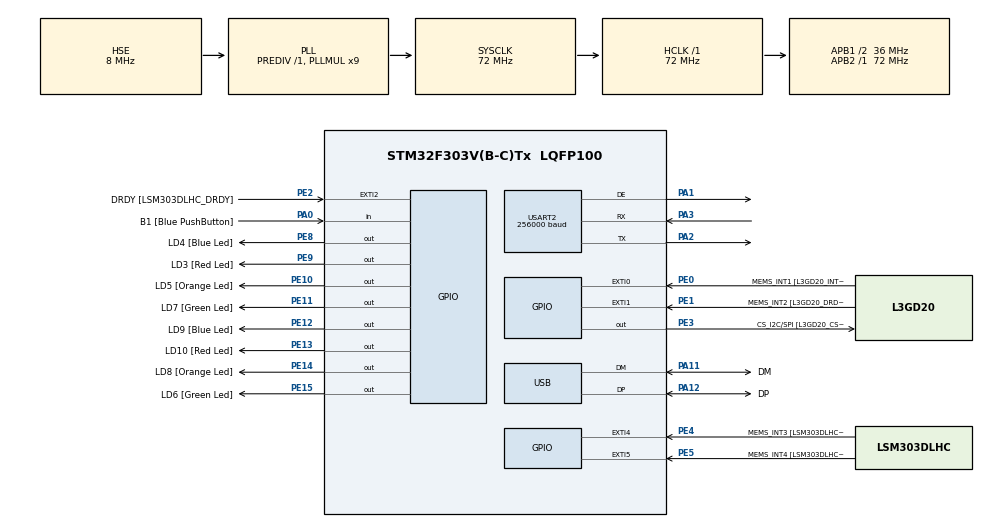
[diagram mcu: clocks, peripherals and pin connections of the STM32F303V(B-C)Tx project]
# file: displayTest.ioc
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Dma.Request0=USART2_TX
Dma.USART2_TX.0.Direction=DMA_MEMORY_TO_PERIPH
Dma.USART2_TX.0.Instance=DMA1_Channel7
Dma.USART2_TX.0.MemDataAlignment=DMA_MDATAALIGN_BYTE
Dma.USART2_TX.0.MemInc=DMA_MINC_ENABLE
Dma.USART2_TX.0.Mode=DMA_NORMAL
Dma.USART2_TX.0.PeriphDataAlignment=DMA_PDATAALIGN_BYTE
Dma.USART2_TX.0.PeriphInc=DMA_PINC_DISABLE
Dma.USART2_TX.0.Priority=DMA_PRIORITY_HIGH
Mcu.Family=STM32F3
Mcu.Name=STM32F303V(B-C)Tx
Mcu.Package=LQFP100
NVIC.DMA1_Channel7_IRQn=true\:0\:0\:false\:false\:true
NVIC.PriorityGroup=NVIC_PRIORITYGROUP_0
NVIC.TIM6_DAC_IRQn=true\:0\:0\:false\:false\:true
NVIC.USART2_IRQn=true\:0\:0\:false\:false\:true
NVIC.USB_LP_CAN_RX0_IRQn=true\:0\:0\:false\:false\:true
PA0.GPIO_Label=B1 [Blue PushButton]
PA0.GPIO_Mode=GPIO_MODE_INPUT
PA0.GPIO_PuPd=GPIO_NOPULL
PA0.Signal=GPIO_Input
PA1.Mode=Hardware Flow Control (RS485)
PA1.Signal=USART2_DE
PA11.GPIO_Label=DM
PA11.Mode=Device
PA11.Signal=USB_DM
PA12.GPIO_Label=DP
PA12.Mode=Device
PA12.Signal=USB_DP
PA13.GPIO_Label=SWDIO
PA13.Mode=Serial_Wire
PA13.Signal=SYS_JTMS-SWDIO
PA14.GPIO_Label=SWCLK
PA14.Mode=Serial_Wire
PA14.Signal=SYS_JTCK-SWCLK
PA2.Mode=Asynchronous
PA2.Signal=USART2_TX
PA3.Mode=Asynchronous
PA3.Signal=USART2_RX
PA5.GPIO_Label=SPI1_SCK [L3GD20_SCL/SPC]
PA5.GPIO_Mode=GPIO_MODE_AF_PP
PA5.GPIO_PuPd=GPIO_NOPULL
PA5.GPIO_Speed=GPIO_SPEED_FREQ_LOW
PA5.Signal=SPI1_SCK
PA6.GPIO_Label=SPI1_MISO [L3GD20_SA0/SDO]
PA6.GPIO_Mode=GPIO_MODE_AF_PP
PA6.GPIO_PuPd=GPIO_NOPULL
PA6.GPIO_Speed=GPIO_SPEED_FREQ_LOW
PA6.Signal=SPI1_MISO
PA7.GPIO_Label=SPI1_MISO [L3GD20_SDA/SDI/SDO]
PA7.GPIO_Mode=GPIO_MODE_AF_PP
PA7.GPIO_PuPd=GPIO_NOPULL
PA7.GPIO_Speed=GPIO_SPEED_FREQ_LOW
PA7.Signal=SPI1_MOSI
PB3.GPIO_Label=SWO
PB3.Signal=SYS_JTDO-TRACESWO
PB6.GPIO_FM6=__NULL
PB6.GPIO_Label=I2C1_SCL [LSM303DLHC_SCL]
PB6.GPIO_Mode=GPIO_MODE_AF_OD
PB6.GPIO_PuPd=GPIO_NOPULL
PB6.GPIO_Speed=GPIO_SPEED_FREQ_LOW
PB6.Signal=I2C1_SCL
PB7.GPIO_FM7=__NULL
PB7.GPIO_Label=I2C1_SDA [LSM303DLHC_SDA]
PB7.GPIO_Mode=GPIO_MODE_AF_OD
PB7.GPIO_PuPd=GPIO_NOPULL
PB7.GPIO_Speed=GPIO_SPEED_FREQ_LOW
PB7.Signal=I2C1_SDA
PC14-OSC32_IN.GPIO_Label=OSC32_IN
PC14-OSC32_IN.Signal=RCC_OSC32_IN
PC15-OSC32_OUT.GPIO_Label=OSC32_OUT
PC15-OSC32_OUT.Signal=RCC_OSC32_OUT
PE0.GPIO_Label=MEMS_INT1 [L3GD20_INT1]
PE0.GPIO_ModeDefaultEXTI=GPIO_MODE_EVT_RISING
PE0.GPIO_PuPd=GPIO_NOPULL
PE0.Signal=GPXTI0
PE1.GPIO_Label=MEMS_INT2 [L3GD20_DRDY/INT2]
PE1.GPIO_ModeDefaultEXTI=GPIO_MODE_EVT_RISING
PE1.GPIO_PuPd=GPIO_NOPULL
PE1.Signal=GPXTI1
PE10.GPIO_Label=LD5 [Orange Led]
PE10.GPIO_ModeDefaultOutputPP=GPIO_MODE_OUTPUT_PP
PE10.GPIO_PuPd=GPIO_NOPULL
PE10.GPIO_Speed=GPIO_SPEED_FREQ_LOW
PE10.Signal=GPIO_Output
PE11.GPIO_Label=LD7 [Green Led]
PE11.GPIO_ModeDefaultOutputPP=GPIO_MODE_OUTPUT_PP
PE11.GPIO_PuPd=GPIO_NOPULL
PE11.GPIO_Speed=GPIO_SPEED_FREQ_LOW
PE11.Signal=GPIO_Output
PE12.GPIO_Label=LD9 [Blue Led]
PE12.GPIO_ModeDefaultOutputPP=GPIO_MODE_OUTPUT_PP
PE12.GPIO_PuPd=GPIO_NOPULL
PE12.GPIO_Speed=GPIO_SPEED_FREQ_LOW
PE12.Signal=GPIO_Output
PE13.GPIO_Label=LD10 [Red Led]
PE13.GPIO_ModeDefaultOutputPP=GPIO_MODE_OUTPUT_PP
PE13.GPIO_PuPd=GPIO_NOPULL
PE13.GPIO_Speed=GPIO_SPEED_FREQ_LOW
PE13.Signal=GPIO_Output
PE14.GPIO_Label=LD8 [Orange Led]
PE14.GPIO_ModeDefaultOutputPP=GPIO_MODE_OUTPUT_PP
PE14.GPIO_PuPd=GPIO_NOPULL
PE14.GPIO_Speed=GPIO_SPEED_FREQ_LOW
PE14.Signal=GPIO_Output
PE15.GPIO_Label=LD6 [Green Led]
PE15.GPIO_ModeDefaultOutputPP=GPIO_MODE_OUTPUT_PP
PE15.GPIO_PuPd=GPIO_NOPULL
PE15.GPIO_Speed=GPIO_SPEED_FREQ_LOW
PE15.Signal=GPIO_Output
PE2.GPIO_Label=DRDY [LSM303DLHC_DRDY]
PE2.GPIO_ModeDefaultEXTI=GPIO_MODE_EVT_RISING
PE2.GPIO_PuPd=GPIO_NOPULL
PE2.Signal=GPXTI2
PE3.GPIO_Label=CS_I2C/SPI [L3GD20_CS_I2C/SPI]
PE3.GPIO_ModeDefaultOutputPP=GPIO_MODE_OUTPUT_PP
PE3.GPIO_PuPd=GPIO_NOPULL
PE3.GPIO_Speed=GPIO_SPEED_FREQ_LOW
PE3.Signal=GPIO_Output
PE4.GPIO_Label=MEMS_INT3 [LSM303DLHC_INT1]
PE4.GPIO_ModeDefaultEXTI=GPIO_MODE_EVT_RISING
PE4.GPIO_PuPd=GPIO_NOPULL
PE4.Signal=GPXTI4
PE5.GPIO_Label=MEMS_INT4 [LSM303DLHC_INT2]
PE5.GPIO_ModeDefaultEXTI=GPIO_MODE_EVT_RISING
PE5.GPIO_PuPd=GPIO_NOPULL
PE5.Signal=GPXTI5
PE8.GPIO_Label=LD4 [Blue Led]
PE8.GPIO_ModeDefaultOutputPP=GPIO_MODE_OUTPUT_PP
PE8.GPIO_PuPd=GPIO_NOPULL
PE8.GPIO_Speed=GPIO_SPEED_FREQ_LOW
PE8.Signal=GPIO_Output
PE9.GPIO_Label=LD3 [Red Led]
PE9.GPIO_ModeDefaultOutputPP=GPIO_MODE_OUTPUT_PP
PE9.GPIO_PuPd=GPIO_NOPULL
PE9.GPIO_Speed=GPIO_SPEED_FREQ_LOW
PE9.Signal=GPIO_Output
PF0-OSC_IN.GPIO_Label=OSC_IN
PF0-OSC_IN.Mode=HSE-External-Clock-Source
PF0-OSC_IN.Signal=RCC_OSC_IN
PF1-OSC_OUT.GPIO_Label=OSC_OUT
PF1-OSC_OUT.Signal=RCC_OSC_OUT
ProjectManager.HeapSize=0x200
ProjectManager.StackSize=0x400
ProjectManager.TargetToolchain=SW4STM32
RCC.AHBFreq_Value=72000000
RCC.APB1CLKDivider=RCC_HCLK_DIV2
RCC.APB1Freq_Value=36000000
RCC.APB1TimFreq_Value=72000000
RCC.APB2Freq_Value=72000000
RCC.APB2TimFreq_Value=72000000
RCC.CortexFreq_Value=72000000
RCC.HCLKFreq_Value=72000000
RCC.HSE_VALUE=8000000
RCC.HSIState=RCC_HSI_ON
RCC.HSI_VALUE=8000000
RCC.LSE_VALUE=32768
RCC.PLLMUL=RCC_PLL_MUL9
RCC.PRESCALERUSB=RCC_USBCLKSOURCE_PLL_DIV1_5
RCC.SYSCLKFreq_VALUE=72000000
RCC.SYSCLKSourceVirtual=RCC_SYSCLKSOURCE_PLLCLK
RCC.USBFreq_Value=48000000
TIM6.Period=10
TIM6.Prescaler=7200
USART2.BaudRate=256000
USB_DEVICE.CLASS_NAME_FS=CDC
USB_DEVICE.USBD_HandleTypeDef=hUsbDeviceFS
USB_DEVICE.VirtualMode=Cdc
USB_DEVICE.VirtualModeFS=Cdc_FS
VP_TIM6_VS_ClockSourceINT.Mode=Enable_Timer
VP_USB_DEVICE_VS_USB_DEVICE_CDC_FS.Mode=CDC_FS
board=STM32F3DISCOVERY

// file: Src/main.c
/**
  ******************************************************************************
  * File Name          : main.c
  * Description        : Main program body
  ******************************************************************************
  *
  * COPYRIGHT(c) 2016 STMicroelectronics
  *
  * Redistribution and use in source and binary forms, with or without modification,
  * are permitted provided that the following conditions are met:
  *   1. Redistributions of source code must retain the above copyright notice,
  *      this list of conditions and the following disclaimer.
  *   2. Redistributions in binary form must reproduce the above copyright notice,
  *      this list of conditions and the following disclaimer in the documentation
  *      and/or other materials provided with the distribution.
  *   3. Neither the name of STMicroelectronics nor the names of its contributors
  *      may be used to endorse or promote products derived from this software
  *      without specific prior written permission.
  *
  * THIS SOFTWARE IS PROVIDED BY THE COPYRIGHT HOLDERS AND CONTRIBUTORS "AS IS"
  * AND ANY EXPRESS OR IMPLIED WARRANTIES, INCLUDING, BUT NOT LIMITED TO, THE
  * IMPLIED WARRANTIES OF MERCHANTABILITY AND FITNESS FOR A PARTICULAR PURPOSE ARE
  * DISCLAIMED. IN NO EVENT SHALL THE COPYRIGHT HOLDER OR CONTRIBUTORS BE LIABLE
  * FOR ANY DIRECT, INDIRECT, INCIDENTAL, SPECIAL, EXEMPLARY, OR CONSEQUENTIAL
  * DAMAGES (INCLUDING, BUT NOT LIMITED TO, PROCUREMENT OF SUBSTITUTE GOODS OR
  * SERVICES; LOSS OF USE, DATA, OR PROFITS; OR BUSINESS INTERRUPTION) HOWEVER
  * CAUSED AND ON ANY THEORY OF LIABILITY, WHETHER IN CONTRACT, STRICT LIABILITY,
  * OR TORT (INCLUDING NEGLIGENCE OR OTHERWISE) ARISING IN ANY WAY OUT OF THE USE
  * OF THIS SOFTWARE, EVEN IF ADVISED OF THE POSSIBILITY OF SUCH DAMAGE.
  *
  ******************************************************************************
  */
#include "stm32f3xx_hal.h"
#include "usb_device.h"

/* USER CODE BEGIN Includes */
#include "main.h"
#include "usbd_cdc_if.h"
#include "string.h"
#include "video.h"
#include "images.h"

/* USER CODE END Includes */

TIM_HandleTypeDef htim6;

UART_HandleTypeDef huart2;
DMA_HandleTypeDef hdma_usart2_tx;

/* USER CODE BEGIN PV */
/* Private variables ---------------------------------------------------------*/

/* USER CODE END PV */

void SystemClock_Config(void);
void Error_Handler(void);
static void MX_GPIO_Init(void);
static void MX_DMA_Init(void);
static void MX_TIM6_Init(void);
static void MX_USART2_UART_Init(void);

/* USER CODE BEGIN PFP */
/* Private function prototypes -----------------------------------------------*/

/* USER CODE END PFP */

/* USER CODE BEGIN 0 */
//////////globals//////////
//#define VIDEO_1  0x77;
//#define VIDEO_1  0x72;
#define MAX_FRAME	150

volatile uint32_t timer1;
volatile uint32_t timer2;
volatile uint16_t timerStopValue = 100;
volatile uint8_t ready = 0;

/////////////// image works/////////////

static const uint8_t imageBall[128] =
{ 0x00, 0x00, 0x80, 0x00, 0xE0, 0x10, 0x00, 0x04,
  0x00, 0x02, 0x00, 0x80, 0x41, 0x20, 0x00, 0x0E,
  0x0E, 0x1F, 0x1F, 0x1F, 0x3E, 0x3E, 0x3E, 0x3C,
  0x1C, 0x08, 0x20, 0x00, 0x00, 0x80, 0x00, 0x00,
  0x10, 0x02, 0x00, 0xF0, 0xFF, 0xFE, 0xFE, 0xFF,
  0xFF, 0xFF, 0xFF, 0xF0, 0x00, 0x80, 0x00, 0x00,
  0x00, 0x00, 0x00, 0x00, 0x80, 0x80, 0xC0, 0xE2,
  0xE0, 0xC0, 0xC0, 0x80, 0x00, 0x01, 0x06, 0x70,
  0x0C, 0x41, 0x00, 0x01, 0x03, 0x07, 0x07, 0x47,
  0x03, 0x01, 0x00, 0x00, 0x00, 0x00, 0x00, 0x00,
  0x00, 0x00, 0x00, 0x0F, 0xFF, 0xFF, 0xFF, 0xFF,
  0xFF, 0x7F, 0xFF, 0x1F, 0x01, 0x00, 0x40, 0x0C,
  0x00, 0x00, 0x01, 0x02, 0x00, 0x08, 0x00, 0x38,
  0x3E, 0x7C, 0x78, 0x78, 0xF8, 0xF0, 0xF0, 0x70,
  0x08, 0x00, 0x80, 0x81, 0x00, 0x40, 0x40, 0x00,
  0x00, 0x10, 0x08, 0x04, 0x02, 0x00, 0x00, 0x00};

static const uint8_t imageRiversoft[256] =
{ 0x50, 0x00, 0xF0, 0xF0, 0xF0, 0xF0, 0xF0, 0xF0,
  0xF0, 0x00, 0xF0, 0x00, 0x00, 0xF0, 0x00, 0x00,
  0x00, 0xE0, 0xF0, 0x10, 0xE0, 0xF0, 0xF0, 0xF0,
  0xF0, 0xF0, 0xF0, 0x00, 0xE0, 0x1C, 0x0E, 0x0E,
  0x0E, 0x0E, 0x0E, 0x0E, 0x8E, 0xFE, 0xFE, 0xFE,
  0xFE, 0x00, 0x00, 0x00, 0x00, 0x00, 0x00, 0x00,
  0x00, 0x00, 0x00, 0x00, 0x00, 0x00, 0x00, 0x00,
  0x00, 0x00, 0x00, 0x00, 0x00, 0x00, 0x00, 0x00,
  0x00, 0xF0, 0xFF, 0x00, 0x00, 0x00, 0x00, 0x00,
  0x00, 0xFC, 0xFC, 0x00, 0x00, 0x7F, 0xFC, 0xC0,
  0xFC, 0x07, 0x00, 0x00, 0xFF, 0x7F, 0x78, 0xF8,
  0xF8, 0xFF, 0x3F, 0x00, 0xFF, 0x00, 0x00, 0xFF,
  0x07, 0x07, 0x87, 0x87, 0x87, 0x87, 0x87, 0xFF,
  0x00, 0xF8, 0xF8, 0x38, 0x38, 0x38, 0xF8, 0xF8,
  0x00, 0xF0, 0xF8, 0x38, 0x38, 0x38, 0x38, 0x38,
  0x00, 0xF8, 0xF8, 0x80, 0x80, 0x80, 0x00, 0x00,
  0x00, 0x3F, 0x07, 0x00, 0x00, 0x00, 0x00, 0x00,
  0x20, 0x3F, 0x1F, 0x00, 0x00, 0x00, 0x3F, 0x0F,
  0x00, 0x00, 0x00, 0x18, 0x3F, 0x3C, 0x3C, 0x3C,
  0x3C, 0x3C, 0x00, 0xFC, 0xFF, 0xE0, 0xFC, 0xFF,
  0xE0, 0xE0, 0xE1, 0xE1, 0x01, 0x01, 0xFF, 0x1F,
  0x00, 0xFF, 0x03, 0x00, 0x00, 0x00, 0xFF, 0x1F,
  0x00, 0xFF, 0x7F, 0x78, 0x78, 0x78, 0x18, 0x00,
  0xE0, 0xFF, 0x0F, 0x0F, 0x0F, 0x01, 0x00, 0x00,
  0x00, 0x00, 0x00, 0x00, 0x00, 0x00, 0x00, 0x00,
  0x00, 0x00, 0x00, 0x00, 0x00, 0x00, 0x00, 0x00,
  0x00, 0x00, 0x00, 0x00, 0x00, 0x00, 0x00, 0x00,
  0x00, 0x00, 0x00, 0x7F, 0x70, 0x70, 0x7F, 0x70,
  0x70, 0x70, 0x70, 0x70, 0x70, 0x30, 0x1F, 0x00,
  0x06, 0x0F, 0x0F, 0x0F, 0x0F, 0x0F, 0x0F, 0x00,
  0x0F, 0x0F, 0x00, 0x00, 0x00, 0x00, 0x00, 0x00,
  0x07, 0x0F, 0x0F, 0x0F, 0x0F, 0x0F, 0x0F, 0x50};

static const char lcd_image_mas[1024] =
{ 0x00, 0x00, 0x00, 0x00, 0x00, 0x00, 0x00, 0x00,
  0x00, 0x00, 0x00, 0x00, 0x00, 0x00, 0x00, 0x00,
  0x00, 0x00, 0x00, 0x00, 0x00, 0x00, 0x00, 0x00,
  0x00, 0x00, 0x00, 0x00, 0x00, 0x00, 0x00, 0x00,
  0x00, 0x00, 0x00, 0x00, 0x00, 0x00, 0x00, 0x00,
  0x00, 0x00, 0x00, 0x00, 0x00, 0x00, 0x00, 0x00,
  0x00, 0x00, 0x00, 0x00, 0x00, 0x00, 0x00, 0x00,
  0x00, 0x00, 0xE0, 0xF8, 0xFC, 0xFC, 0xFC, 0xFC,
  0xFC, 0xFC, 0xFC, 0xFC, 0xFC, 0xFC, 0xFC, 0xFC,
  0xFC, 0xFC, 0xFC, 0xFC, 0xFC, 0xFC, 0xFC, 0xFC,
  0xFC, 0xFC, 0x00, 0x00, 0x00, 0x00, 0x00, 0x00,
  0x00, 0x00, 0x00, 0x00, 0x00, 0x00, 0x00, 0x00,
  0x00, 0x00, 0x00, 0x00, 0x00, 0x00, 0x00, 0x00,
  0x00, 0x00, 0x00, 0x00, 0x00, 0x00, 0x00, 0x00,
  0x00, 0x00, 0x00, 0x00, 0x00, 0x00, 0x00, 0x00,
  0x00, 0x00, 0x00, 0x00, 0x00, 0x00, 0x00, 0x00,
  0x00, 0x00, 0x00, 0x80, 0xFF, 0xFF, 0xFF, 0xFF,
  0x7F, 0x7F, 0x7F, 0x7F, 0x7F, 0x7F, 0x7F, 0x7F,
  0x7F, 0x00, 0x00, 0x7E, 0x7F, 0x7F, 0x7F, 0x00,
  0x00, 0x7F, 0xFF, 0xFF, 0xF8, 0x00, 0x00, 0x00,
  0x00, 0x00, 0xF0, 0xFF, 0xFF, 0x3F, 0x01, 0x00,
  0xF0, 0xFF, 0xFF, 0xFF, 0x7F, 0x7F, 0x7F, 0x7F,
  0x7F, 0x7F, 0xFF, 0xFF, 0xFF, 0xFF, 0x00, 0x00,
  0xF8, 0xFF, 0xFF, 0x01, 0x00, 0x00, 0x00, 0x00,
  0x00, 0x00, 0x00, 0x00, 0x00, 0x00, 0x00, 0x00,
  0x00, 0xFF, 0xFF, 0xFF, 0xFF, 0xFF, 0xFF, 0xFF,
  0xFF, 0x00, 0x00, 0x00, 0x00, 0x00, 0x00, 0x00,
  0x00, 0x00, 0x00, 0x00, 0x00, 0x00, 0x00, 0x00,
  0x00, 0x00, 0x00, 0x00, 0x00, 0x00, 0x00, 0x00,
  0x00, 0x00, 0x00, 0x00, 0x00, 0x00, 0x00, 0x00,
  0x00, 0x00, 0x00, 0x00, 0x00, 0x00, 0x00, 0x00,
  0x00, 0x00, 0x00, 0x00, 0x00, 0x00, 0x00, 0x00,
  0x00, 0x00, 0x00, 0xFF, 0xFF, 0xFF, 0x0F, 0x01,
  0x00, 0x00, 0x00, 0x00, 0x00, 0x00, 0x00, 0x00,
  0x00, 0x00, 0x00, 0xF0, 0xF0, 0xF0, 0x00, 0x00,
  0x00, 0x00, 0xFF, 0xFF, 0xFF, 0x00, 0x00, 0x00,
  0xF0, 0xFE, 0xFF, 0x1F, 0x03, 0x00, 0x00, 0x00,
  0xFF, 0xFF, 0xFF, 0xE1, 0x80, 0x80, 0x80, 0x80,
  0x80, 0x80, 0xFF, 0xFF, 0xFF, 0x0F, 0x00, 0x00,
  0xFF, 0xFF, 0x01, 0x00, 0x00, 0x00, 0xFE, 0xFE,
  0x7E, 0x1E, 0x1E, 0x1E, 0x0E, 0x1E, 0x1E, 0x1E,
  0x1E, 0x1F, 0x1F, 0x1F, 0x1F, 0x1F, 0xFF, 0xFF,
  0xFF, 0x00, 0x00, 0x80, 0xE0, 0xE0, 0xE0, 0xE0,
  0xE0, 0xE0, 0xE0, 0xE0, 0xE0, 0xE0, 0xE0, 0xE0,
  0x00, 0x00, 0x00, 0xE0, 0xE0, 0xE0, 0xE0, 0xE0,
  0xE0, 0xE0, 0xE0, 0xE0, 0xE0, 0xE0, 0xE0, 0xE0,
  0xE0, 0x00, 0x00, 0xE0, 0xE0, 0xE0, 0x00, 0x00,
  0x00, 0x00, 0x00, 0x00, 0x00, 0x00, 0x00, 0x00,
  0x00, 0x00, 0xFF, 0xFF, 0xFF, 0x1F, 0x00, 0x00,
  0x00, 0x00, 0x00, 0x00, 0x00, 0x00, 0x00, 0x00,
  0x00, 0x00, 0xFC, 0xFF, 0xFF, 0xFF, 0x00, 0x00,
  0x00, 0x00, 0x3F, 0xFF, 0xFF, 0xE0, 0xE0, 0xFF,
  0xFF, 0x3F, 0x03, 0x00, 0x00, 0x00, 0x00, 0xE0,
  0xFF, 0xFF, 0xFF, 0xFF, 0x3F, 0xFF, 0xFF, 0xFF,
  0xFF, 0xFF, 0xFF, 0x3F, 0x1F, 0x00, 0x00, 0xF8,
  0xFF, 0xFF, 0x00, 0x00, 0x00, 0xF8, 0xFF, 0xFF,
  0x00, 0x00, 0x00, 0xC0, 0xC0, 0xC0, 0xC0, 0xC0,
  0xC0, 0xC0, 0xC0, 0xC0, 0xC0, 0xC0, 0xFF, 0xFF,
  0x00, 0x00, 0xFF, 0xFF, 0xFF, 0x3F, 0x1F, 0x1F,
  0x1F, 0x1F, 0x1F, 0x1F, 0x1F, 0xFF, 0xFF, 0xFF,
  0x00, 0x00, 0xC0, 0xFF, 0xFF, 0xFF, 0x1F, 0x1F,
  0x1F, 0x1F, 0x1F, 0x1F, 0x1F, 0x1F, 0x1F, 0x1F,
  0x07, 0x00, 0xFC, 0xFF, 0xFF, 0xFF, 0xC0, 0xC0,
  0xC0, 0xC0, 0xC0, 0x00, 0x00, 0x00, 0x00, 0x00,
  0x00, 0x00, 0xFF, 0xFF, 0xFF, 0x00, 0x00, 0x00,
  0x00, 0x00, 0x00, 0x00, 0x00, 0x00, 0x00, 0x00,
  0x00, 0xF8, 0xFF, 0xFF, 0xFF, 0x03, 0x00, 0x00,
  0x00, 0x00, 0x00, 0x1F, 0xFF, 0xFF, 0xFF, 0x3F,
  0x00, 0x00, 0x00, 0x00, 0x00, 0x00, 0xC0, 0xFF,
  0xFF, 0xFF, 0xFF, 0xF8, 0xF8, 0xF8, 0xF8, 0xF8,
  0xF8, 0xF8, 0xF8, 0xF8, 0x38, 0x00, 0x00, 0xFF,
  0xFF, 0x07, 0x00, 0x00, 0x00, 0xFF, 0xFF, 0x00,
  0x00, 0x00, 0x00, 0x03, 0x03, 0x03, 0x03, 0x03,
  0x03, 0x03, 0x03, 0x03, 0x07, 0xFF, 0xFF, 0x03,
  0x00, 0x00, 0xFF, 0xFF, 0xFF, 0x00, 0x00, 0x00,
  0x00, 0x00, 0x00, 0x00, 0xE0, 0xFF, 0xFF, 0xFF,
  0x00, 0xC0, 0xFF, 0xFF, 0xFF, 0xE7, 0xC0, 0xC0,
  0xC0, 0xC0, 0xC0, 0xC0, 0xC0, 0x00, 0x00, 0x00,
  0x00, 0x00, 0xFF, 0xFF, 0xFF, 0xFF, 0xFF, 0xFF,
  0xFF, 0xFF, 0xFF, 0x00, 0x00, 0x00, 0x00, 0x00,
  0x00, 0x08, 0x0F, 0x0F, 0x0F, 0x00, 0x00, 0x00,
  0x00, 0x00, 0x00, 0x00, 0x00, 0x00, 0x00, 0x00,
  0x00, 0x0F, 0x0F, 0x0F, 0x01, 0x00, 0x00, 0x00,
  0x00, 0x00, 0x00, 0x00, 0x0F, 0x0F, 0x07, 0x00,
  0x00, 0x00, 0x00, 0x00, 0x00, 0x00, 0x01, 0x07,
  0x0F, 0x0F, 0x0F, 0x0F, 0x0F, 0x0F, 0x0F, 0x0F,
  0x0F, 0x0F, 0x0F, 0x0F, 0x00, 0x00, 0xF0, 0xFF,
  0x7F, 0x78, 0x78, 0x78, 0xF8, 0xFF, 0x7F, 0x7E,
  0x78, 0x78, 0x78, 0x78, 0x78, 0x78, 0x78, 0x78,
  0x78, 0x00, 0x00, 0x00, 0xC0, 0xFF, 0xFF, 0x00,
  0x00, 0xFE, 0xFF, 0xFF, 0xFF, 0x80, 0x80, 0x80,
  0x80, 0x80, 0x80, 0xC0, 0xFF, 0xFF, 0xFF, 0x01,
  0x00, 0xFF, 0xFF, 0xFF, 0x3F, 0x3F, 0x3F, 0x3F,
  0x3F, 0x3F, 0x3F, 0x3F, 0x3F, 0x00, 0x00, 0x00,
  0x00, 0xF8, 0xFF, 0xFF, 0xFF, 0x80, 0x80, 0x80,
  0x80, 0x80, 0x80, 0x80, 0x80, 0x80, 0x80, 0x00,
  0x00, 0x00, 0x00, 0x00, 0x00, 0x00, 0x00, 0x00,
  0x00, 0x00, 0x00, 0x00, 0x00, 0x00, 0x00, 0x00,
  0x00, 0x00, 0x00, 0x00, 0x00, 0x00, 0x00, 0x00,
  0x00, 0x00, 0x00, 0x00, 0x00, 0x00, 0x00, 0x00,
  0x00, 0x00, 0x00, 0x00, 0x00, 0x00, 0x00, 0x00,
  0x00, 0x00, 0x00, 0x00, 0x00, 0x00, 0x00, 0x00,
  0x00, 0x00, 0x00, 0x00, 0x00, 0xF0, 0xFF, 0xFF,
  0x00, 0x00, 0x00, 0xE0, 0xFF, 0xFF, 0x00, 0x00,
  0x00, 0x00, 0x00, 0x00, 0x00, 0x00, 0x00, 0x00,
  0x00, 0x00, 0x00, 0x80, 0xFF, 0xFF, 0x03, 0x00,
  0x00, 0x7F, 0xFF, 0xFF, 0xFF, 0xFF, 0xFF, 0xFF,
  0xFF, 0xFF, 0xFF, 0xFF, 0xFF, 0x7F, 0x03, 0x00,
  0x80, 0xFF, 0xFF, 0xFF, 0x00, 0x00, 0x00, 0x00,
  0x00, 0x00, 0x00, 0x00, 0x00, 0x00, 0x00, 0x00,
  0x1C, 0x7F, 0xFF, 0xFF, 0xFF, 0xFF, 0xFF, 0xFF,
  0xFF, 0xFF, 0xFF, 0xFF, 0xFF, 0xFF, 0xFF, 0x00,
  0x00, 0x00, 0x00, 0x00, 0x00, 0x00, 0x00, 0x00,
  0x00, 0x00, 0x00, 0x00, 0x00, 0x00, 0x00, 0x00,
  0x00, 0x00, 0x00, 0x00, 0x00, 0x00, 0x00, 0x00,
  0x00, 0x00, 0x00, 0x00, 0x00, 0x00, 0x00, 0x00,
  0x00, 0x00, 0x00, 0x00, 0x00, 0x00, 0x00, 0x00,
  0x00, 0x00, 0x00, 0x00, 0x00, 0x00, 0x00, 0x00,
  0x00, 0x00, 0x00, 0x00, 0x00, 0x3F, 0x3F, 0x3F,
  0x3F, 0x3F, 0x3F, 0x3F, 0x3F, 0x3F, 0x3F, 0x3F,
  0x3F, 0x3F, 0x3F, 0x3F, 0x3F, 0x3F, 0x3F, 0x3F,
  0x3F, 0x3F, 0x3F, 0x1F, 0x07, 0x03, 0x00, 0x00,
  0x00, 0x00, 0x00, 0x00, 0x00, 0x00, 0x00, 0x00,
  0x00, 0x00, 0x00, 0x00, 0x00, 0x00, 0x00, 0x00,
  0x00, 0x00, 0x00, 0x00, 0x00, 0x00, 0x00, 0x00,
  0x00, 0x00, 0x00, 0x00, 0x00, 0x00, 0x00, 0x00,
  0x00, 0x00, 0x00, 0x00, 0x00, 0x00, 0x00, 0x00,
  0x00, 0x00, 0x00, 0x00, 0x00, 0x00, 0x00, 0x00};

static const uint8_t image_data_Font_0x55[] = {
		0x00, 0x60, 0xe0, 0xe0, 0x80, 0x00, 0x00, 0x00, 0x00, 0x00, 0x00, 0xe0, 0xe0, 0xe0, 0x00, 0x00, 0x00, 0x00, 0x00, 0x00, 0x80, 0xe0, 0xe0, 0x60, 0x00, 0x00, 0x00, 0x07, 0x7f, 0xff, 0xf8, 0x80, 0x00, 0x00, 0xf0, 0xff, 0x1f, 0x00, 0x1f, 0xff, 0xf0, 0x00, 0x00, 0x80, 0xf8, 0xff, 0x7f, 0x07, 0x00, 0x00, 0x00, 0x00, 0x00, 0x00, 0x07, 0x7f, 0xff, 0xf8, 0xff, 0x1f, 0x01, 0x00, 0x00, 0x00, 0x01, 0x3f, 0xff, 0xf8, 0xff, 0x7f, 0x07, 0x00, 0x00, 0x00, 0x00, 0x00, 0x00, 0x00, 0x00, 0x00, 0x00, 0x00, 0x00, 0x00, 0x00, 0x00, 0x00, 0x00, 0x00, 0x00, 0x00, 0x00, 0x00, 0x00, 0x00, 0x00, 0x00, 0x00, 0x00, 0x00
};

/* USER CODE END 0 */

int main(void)
{

  /* MCU Configuration----------------------------------------------------------*/

  /* Reset of all peripherals, Initializes the Flash interface and the Systick. */
  HAL_Init();

  /* Configure the system clock */
  SystemClock_Config();

  /* Initialize all configured peripherals */
  MX_GPIO_Init();
  MX_DMA_Init();
  MX_TIM6_Init();
  MX_USART2_UART_Init();
  MX_USB_DEVICE_Init();

  /* USER CODE BEGIN 2 */
  image ballImage;
  image textBuffer;
  image stringBuffer;
  image commandTextBuffer;
  videoBuff mainBuffer;
  text testString;
  scoreForm footballForm;
  imageGif goalGif;
  imageGif logoGif;
  imageGif winerGif;

  ////image properties////////

  //extern uint8_t UserRxBufferFS[APP_RX_DATA_SIZE];

  uint8_t yPosition = 0;
  uint8_t frame = 0;
  uint8_t init_array[] = {'I', 'N', xMatrix, yMatrix};
  uint32_t xMove = 0;

  uint8_t videoBuffer[TRANCIEVE_ARRAY_SIZE];
  uint8_t textBuff[TEXT_BUF_SIZE];
  uint8_t commandTextBuff [COMM_TEXT_BUF_SIZE];
  uint8_t stringBuff [STRING_BUF_SIZE];
  uint8_t *subStringPtr = 0;

  uint8_t imageMode = LOGO_MODE;
  uint32_t ticks = 40;

  uint8_t recieve_array [10];
  char *ptr_char0;

  ///////////////////// set buffer an images properties
  //footballForm.formImage

  goalGif.frames = 14;
  goalGif.frameSize = 1024;
  goalGif.imageArrayPtr = goal;
  goalGif.xLength = 128;
  goalGif.xOffset = 0;
  goalGif.yLength = 8;
  goalGif.yOffset = 0;
  goalGif.currentFrame = 0;
  goalGif.repeats = 20;
  goalGif.repeatsFrom = 12;

  winerGif.frames = 15;
  winerGif.frameSize = 1024;
  winerGif.imageArrayPtr = imagesWinner;
  winerGif.xLength = 128;
  winerGif.xOffset = 0;
  winerGif.yLength = 8;
  winerGif.yOffset = 0;
  winerGif.currentFrame = 0;
  winerGif.repeats = 0;
  winerGif.repeatsFrom = 0;

  logoGif.frames = 4;
  logoGif.frameSize = 1024;
  logoGif.imageArrayPtr = logo;
  logoGif.xLength = 128;
  logoGif.xOffset = 0;
  logoGif.yLength = 8;
  logoGif.yOffset = 0;
  logoGif.currentFrame = 0;
  logoGif.repeats = 0;
  logoGif.repeatsFrom = 0;

  ballImage.xLength = 64;
  ballImage.yLength = 4;
  ballImage.size = ballImage.xLength * ballImage.yLength;
  ballImage.xOffset = 0;
  ballImage.yOffset = 0;
  ballImage.imageArrayPtr = imageRiversoft;

  textBuffer.xLength = 128;
  textBuffer.yLength = TEXT_BUF_SIZE/textBuffer.xLength;
  textBuffer.visibleLeftEdge = 0;
  textBuffer.visibleRightEdge = textBuffer.xLength;
  textBuffer.size = TEXT_BUF_SIZE;
  textBuffer.xOffset = 0;
  textBuffer.yOffset = 0;
  textBuffer.imageArrayPtr = textBuff;

  stringBuffer.xLength = 256;
  stringBuffer.yLength = STRING_BUF_SIZE/stringBuffer.xLength;
  stringBuffer.visibleLeftEdge = 0;
  stringBuffer.visibleRightEdge = stringBuffer.xLength;
  stringBuffer.size = STRING_BUF_SIZE;
  stringBuffer.xOffset = 0;
  stringBuffer.yOffset = 0;
  stringBuffer.imageArrayPtr = stringBuff;

  commandTextBuffer.xLength = 128;
  commandTextBuffer.yLength = COMM_TEXT_BUF_SIZE/textBuffer.xLength;
  commandTextBuffer.visibleLeftEdge = 0;
  commandTextBuffer.visibleRightEdge = commandTextBuffer.xLength;
  commandTextBuffer.size = COMM_TEXT_BUF_SIZE;
  commandTextBuffer.xOffset = 0;
  commandTextBuffer.yOffset = 0;
  commandTextBuffer.imageArrayPtr = commandTextBuff;

  mainBuffer.xLength = 128;
  mainBuffer.yLength = TRANCIEVE_ARRAY_SIZE/mainBuffer.xLength;
  mainBuffer.size = TRANCIEVE_ARRAY_SIZE;
  mainBuffer.bufferArrayPtr = videoBuffer;

  testString.letterHight = 8;
  testString.letterWidth = 5;
  testString.xOffset = 0;
  testString.yOffset = 0;
  testString.stringPtr = "Риверсофт";
  ///////////////////////////

  memset (videoBuffer, 0x00, TRANCIEVE_ARRAY_SIZE);
  memset (textBuff, 0x00, TEXT_BUF_SIZE);
  memset (stringBuff, 0x00, STRING_BUF_SIZE);
  HAL_TIM_Base_Start_IT(&htim6);
  /* USER CODE END 2 */

  /* Infinite loop */
  /* USER CODE BEGIN WHILE */
  USER_UART_clear_rx(&huart2);
  USER_UART_enable_RX_IT(&huart2);
  HAL_Delay(100);
  HAL_UART_Transmit_IT(&huart2, (uint8_t*)&init_array, 4);
  HAL_Delay(100);
  while (1)
  {
	  //CDC_Transmit_FS((uint8_t*)"START", strlen("START"));
	  /*if (timer1 == TIMER_1_STOP_VALUE)
	  {
		// memset (videoBuffer, 0x00, TRANCIEVE_ARRAY_SIZE);
		 HAL_UART_Transmit_IT(&huart2, (uint8_t*)"BUFC", 4);
		 HAL_Delay(20);
		 HAL_UART_Transmit_IT(&huart2, (uint8_t*)&imageRiversoft, 256);
		 //HAL_UART_Transmit_DMA(&huart2, (uint8_t*)&videoBuffer, TRANCIEVE_ARRAY_SIZE);
		 timer1 = 0;
	  }*/
	  if (ready)
	  {
		// memset (videoBuffer, 0x00, TRANCIEVE_ARRAY_SIZE);
		 HAL_UART_Transmit_IT(&huart2, (uint8_t*)"BUFC", 4);
		 HAL_Delay(10);
		 //HAL_UART_Transmit_IT(&huart2, (uint8_t*)&videoBuffer, TRANCIEVE_ARRAY_SIZE);
		 HAL_UART_Transmit_DMA(&huart2, (uint8_t*)&videoBuffer, TRANCIEVE_ARRAY_SIZE);
		 timer1 = 0;
	  }

	  if ((timer2 == timerStopValue)&&(!ready))
	  {
		 memset (videoBuffer, 0x00, TRANCIEVE_ARRAY_SIZE);
		 switch (imageMode)
		 {
		 case LOGO_MODE:
			 timerStopValue = 250;
			 Video_put_gif (&logoGif, &mainBuffer);
			 ticks--;
			 if (!ticks)
			 {
				 imageMode = GOAL_MODE;
				 ticks = 80;
			 }
			 break;

		 case GOAL_MODE:
			 timerStopValue = 75;
			 ticks--;
			 Video_put_gif (&goalGif, &mainBuffer);
			 if (Video_put_gif (&goalGif, &mainBuffer) == 'S')
				 {
				 	 imageMode = SCORE_MODE;
				 	 ticks = 20;
				 }
			 break;

		 case WINNER_MODE:
		 			 timerStopValue = 75;
		 			 ticks--;
		 			 Video_put_gif (&winerGif, &mainBuffer);
		 			 if (!ticks)
		 			 {
		 			 	imageMode = LOGO_MODE;
		 			 	ticks = 40;
		 			 }
		 			 break;

		 case SCORE_MODE:
			 timerStopValue = 400;
			 Video_put_string_fonts ((uint8_t*)"0:1", &Font2_array, &textBuffer);
			 Video_put_and_move_string ((uint8_t*)"Франция - Португалия", &FontSmall_array, &commandTextBuffer);
			 Video_move_image(&textBuffer, &mainBuffer, 18, 0);
			 Video_move_image(&commandTextBuffer, &mainBuffer, 0, 6);
			 Video_put_image(&textBuffer, &mainBuffer);
			 Video_put_image(&commandTextBuffer, &mainBuffer);
			 ticks--;

			 if (!ticks)
			 {
				 imageMode =  WINNER_MODE;
				 ticks = 500;
			 }
			 break;

		 case STRING_MODE:
			 timerStopValue = 150;
			 Video_put_string_fonts ((uint8_t*)"Здесь могла быть", &Font2_array, &stringBuffer);
			 Video_move_image(&stringBuffer, &mainBuffer, xMove, 1);
			 Video_put_image(&stringBuffer, &mainBuffer);
			 xMove += 4;
			 if (xMove == 128)
				 xMove = 0;
			 ticks--;

			 	if (!ticks)
			    {
			 		imageMode = LOGO_MODE;
			 		ticks = 80;
			 	}
			 break;

		 default: break;
		 }
/*
		 if (imageMode)
		 {
			 Video_put_gif (&goalGif, &mainBuffer);
			 //Video_move_image(&ballImage, &mainBuffer, frame*6, 0);
			 //Video_put_image(&ballImage, &mainBuffer);
		 }
		 else
		 {
			 //Video_move_image(&textBuffer, &mainBuffer, frame*2, yPosition);
			 //Video_put_string(&testString, &textBuffer);
			 //Video_put_image_edge (&textBuffer, &mainBuffer);
			 //Video_put_string_fonts((uint8_t*)"WELLCOME", &Font_array, &textBuffer);

			 Video_put_string_fonts ((uint8_t*)"5:0", &Font2_array, &textBuffer);
			 Video_put_and_move_string ((uint8_t*)"аргентина - ямайка", &FontSmall_array, &commandTextBuffer);
			 Video_move_image(&textBuffer, &mainBuffer, 16, 0);
			 Video_move_image(&commandTextBuffer, &mainBuffer, 0, 6);
			 Video_put_image(&textBuffer, &mainBuffer);
			 Video_put_image(&commandTextBuffer, &mainBuffer);

		 }

*/
		  ready = 1;
		  timer2 = 0;
	  }

  /* USER CODE END WHILE */

  }

}

/** System Clock Configuration
*/
void SystemClock_Config(void)
{

  RCC_OscInitTypeDef RCC_OscInitStruct;
  RCC_ClkInitTypeDef RCC_ClkInitStruct;
  RCC_PeriphCLKInitTypeDef PeriphClkInit;

  RCC_OscInitStruct.OscillatorType = RCC_OSCILLATORTYPE_HSE;
  RCC_OscInitStruct.HSEState = RCC_HSE_BYPASS;
  RCC_OscInitStruct.HSEPredivValue = RCC_HSE_PREDIV_DIV1;
  RCC_OscInitStruct.PLL.PLLState = RCC_PLL_ON;
  RCC_OscInitStruct.PLL.PLLSource = RCC_PLLSOURCE_HSE;
  RCC_OscInitStruct.PLL.PLLMUL = RCC_PLL_MUL9;
  if (HAL_RCC_OscConfig(&RCC_OscInitStruct) != HAL_OK)
  {
    Error_Handler();
  }

  RCC_ClkInitStruct.ClockType = RCC_CLOCKTYPE_HCLK|RCC_CLOCKTYPE_SYSCLK
                              |RCC_CLOCKTYPE_PCLK1|RCC_CLOCKTYPE_PCLK2;
  RCC_ClkInitStruct.SYSCLKSource = RCC_SYSCLKSOURCE_PLLCLK;
  RCC_ClkInitStruct.AHBCLKDivider = RCC_SYSCLK_DIV1;
  RCC_ClkInitStruct.APB1CLKDivider = RCC_HCLK_DIV2;
  RCC_ClkInitStruct.APB2CLKDivider = RCC_HCLK_DIV1;
  if (HAL_RCC_ClockConfig(&RCC_ClkInitStruct, FLASH_LATENCY_2) != HAL_OK)
  {
    Error_Handler();
  }

  PeriphClkInit.PeriphClockSelection = RCC_PERIPHCLK_USB|RCC_PERIPHCLK_USART2;
  PeriphClkInit.Usart2ClockSelection = RCC_USART2CLKSOURCE_PCLK1;
  PeriphClkInit.USBClockSelection = RCC_USBCLKSOURCE_PLL_DIV1_5;
  if (HAL_RCCEx_PeriphCLKConfig(&PeriphClkInit) != HAL_OK)
  {
    Error_Handler();
  }

  HAL_SYSTICK_Config(HAL_RCC_GetHCLKFreq()/1000);

  HAL_SYSTICK_CLKSourceConfig(SYSTICK_CLKSOURCE_HCLK);

  /* SysTick_IRQn interrupt configuration */
  HAL_NVIC_SetPriority(SysTick_IRQn, 0, 0);
}

/* TIM6 init function */
static void MX_TIM6_Init(void)
{
	  TIM_MasterConfigTypeDef sMasterConfig;

	  htim6.Instance = TIM6;
	  htim6.Init.Prescaler = 7199;
	  htim6.Init.CounterMode = TIM_COUNTERMODE_UP;
	  htim6.Init.Period = 9;
	  if (HAL_TIM_Base_Init(&htim6) != HAL_OK)
	  {
	    Error_Handler();
	  }

	  sMasterConfig.MasterOutputTrigger = TIM_TRGO_UPDATE;
	  sMasterConfig.MasterSlaveMode = TIM_MASTERSLAVEMODE_DISABLE;
	  if (HAL_TIMEx_MasterConfigSynchronization(&htim6, &sMasterConfig) != HAL_OK)
	  {
	    Error_Handler();
	  }
}

/* USART2 init function */
static void MX_USART2_UART_Init(void)
{

  huart2.Instance = USART2;
  huart2.Init.BaudRate = UART_SPEED;
  huart2.Init.WordLength = UART_WORDLENGTH_8B;
  huart2.Init.StopBits = UART_STOPBITS_1;
  huart2.Init.Parity = UART_PARITY_NONE;
  huart2.Init.Mode = UART_MODE_TX_RX;
  huart2.Init.HwFlowCtl = UART_HWCONTROL_NONE;
  huart2.Init.OverSampling = UART_OVERSAMPLING_16;
  huart2.Init.OneBitSampling = UART_ONE_BIT_SAMPLE_DISABLE;
  huart2.AdvancedInit.AdvFeatureInit = UART_ADVFEATURE_NO_INIT;
  if (HAL_RS485Ex_Init(&huart2, UART_DE_POLARITY_HIGH, 0, 0) != HAL_OK)
  {
    Error_Handler();
  }

}

static void MX_DMA_Init(void)
{
  /* DMA controller clock enable */
  __HAL_RCC_DMA1_CLK_ENABLE();

  /* DMA interrupt init */
  /* DMA1_Channel7_IRQn interrupt configuration */
  HAL_NVIC_SetPriority(DMA1_Channel7_IRQn, 0, 0);
  HAL_NVIC_EnableIRQ(DMA1_Channel7_IRQn);

}

/** Configure pins as
        * Analog
        * Input
        * Output
        * EVENT_OUT
        * EXTI
     PA5   ------> SPI1_SCK
     PA6   ------> SPI1_MISO
     PA7   ------> SPI1_MOSI
     PB6   ------> I2C1_SCL
     PB7   ------> I2C1_SDA
*/
static void MX_GPIO_Init(void)
{

  GPIO_InitTypeDef GPIO_InitStruct;

  /* GPIO Ports Clock Enable */
  __HAL_RCC_GPIOE_CLK_ENABLE();
  __HAL_RCC_GPIOC_CLK_ENABLE();
  __HAL_RCC_GPIOF_CLK_ENABLE();
  __HAL_RCC_GPIOA_CLK_ENABLE();
  __HAL_RCC_GPIOB_CLK_ENABLE();

  /*Configure GPIO pins : DRDY_Pin MEMS_INT3_Pin MEMS_INT4_Pin MEMS_INT1_Pin
                           MEMS_INT2_Pin */
  GPIO_InitStruct.Pin = DRDY_Pin|MEMS_INT3_Pin|MEMS_INT4_Pin|MEMS_INT1_Pin
                          |MEMS_INT2_Pin;
  GPIO_InitStruct.Mode = GPIO_MODE_EVT_RISING;
  GPIO_InitStruct.Pull = GPIO_NOPULL;
  HAL_GPIO_Init(GPIOE, &GPIO_InitStruct);

  /*Configure GPIO pins : CS_I2C_SPI_Pin LD4_Pin LD3_Pin LD5_Pin
                           LD7_Pin LD9_Pin LD10_Pin LD8_Pin
                           LD6_Pin */
  GPIO_InitStruct.Pin = CS_I2C_SPI_Pin|LD4_Pin|LD3_Pin|LD5_Pin
                          |LD7_Pin|LD9_Pin|LD10_Pin|LD8_Pin
                          |LD6_Pin;
  GPIO_InitStruct.Mode = GPIO_MODE_OUTPUT_PP;
  GPIO_InitStruct.Pull = GPIO_NOPULL;
  GPIO_InitStruct.Speed = GPIO_SPEED_FREQ_LOW;
  HAL_GPIO_Init(GPIOE, &GPIO_InitStruct);

  /*Configure GPIO pin : B1_Pin */
  GPIO_InitStruct.Pin = B1_Pin;
  GPIO_InitStruct.Mode = GPIO_MODE_INPUT;
  GPIO_InitStruct.Pull = GPIO_NOPULL;
  HAL_GPIO_Init(B1_GPIO_Port, &GPIO_InitStruct);

  /*Configure GPIO pins : PA5 PA6 SPI1_MISO_Pin */
  GPIO_InitStruct.Pin = GPIO_PIN_5|GPIO_PIN_6|SPI1_MISO_Pin;
  GPIO_InitStruct.Mode = GPIO_MODE_AF_PP;
  GPIO_InitStruct.Pull = GPIO_NOPULL;
  GPIO_InitStruct.Speed = GPIO_SPEED_FREQ_LOW;
  GPIO_InitStruct.Alternate = GPIO_AF5_SPI1;
  HAL_GPIO_Init(GPIOA, &GPIO_InitStruct);

  /*Configure GPIO pins : PB6 PB7 */
  GPIO_InitStruct.Pin = GPIO_PIN_6|GPIO_PIN_7;
  GPIO_InitStruct.Mode = GPIO_MODE_AF_OD;
  GPIO_InitStruct.Pull = GPIO_PULLUP;
  GPIO_InitStruct.Speed = GPIO_SPEED_FREQ_LOW;
  GPIO_InitStruct.Alternate = GPIO_AF4_I2C1;
  HAL_GPIO_Init(GPIOB, &GPIO_InitStruct);

  /*Configure GPIO pin Output Level */
  HAL_GPIO_WritePin(GPIOE, CS_I2C_SPI_Pin|LD4_Pin|LD3_Pin|LD5_Pin
                          |LD7_Pin|LD9_Pin|LD10_Pin|LD8_Pin
                          |LD6_Pin, GPIO_PIN_RESET);

}

void Error_Handler(void)
{
  while(1)
  {
  }
}

/************************ (C) COPYRIGHT STMicroelectronics *****END OF FILE****/
